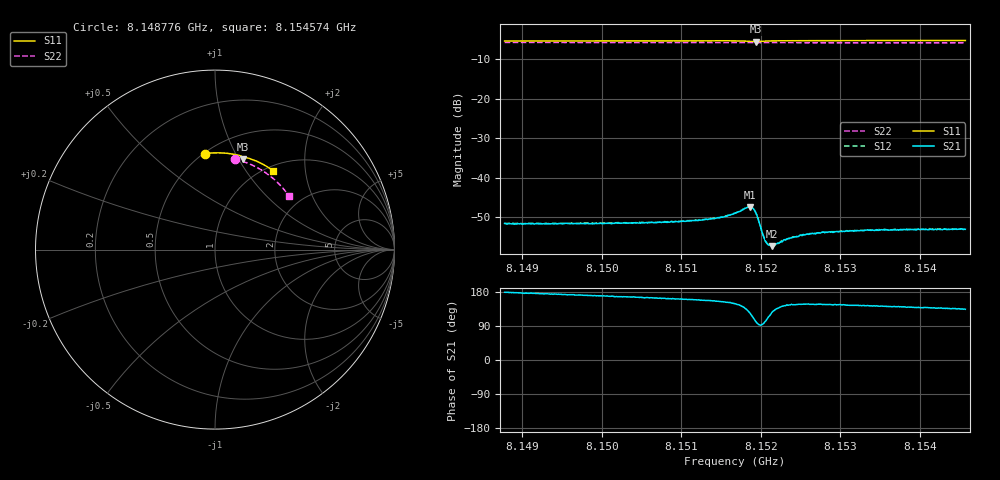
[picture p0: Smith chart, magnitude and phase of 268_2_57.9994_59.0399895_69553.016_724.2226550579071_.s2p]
#  HZ  S  RI  R  50.00
! Rohde & Schwarz Vector Network Analyzer
! Rohde-Schwarz,ZNB20-2Port,1311601062101988,3.16
! Created: UTC 3/21/2024, 1:02:15 AM
! freq[Hz]  re:S11  im:S11  re:S21  im:S21  re:S12  im:S12  re:S22  im:S22
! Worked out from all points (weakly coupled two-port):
!   401 points, 8.148776 GHz to 8.154574 GHz, reference 50 ohm
!   highest |S21| = -47.38 dB at 8.151863 GHz (marker M1); lowest = -57.2 dB at 8.152139 GHz (marker M2)
!   lowest |S11| = -5.5 dB at 8.151936 GHz (marker M3), VSWR 3.25, Z = 37.2 + j52.2 ohm
!   |S11| at or under -10 dB: nowhere
!   |S22| runs from -5.9 to -5.7 dB; largest |S21 - S12| = 0.00011
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8.1487759e9  -0.0558 0.5347  -0.00266 5.49e-05  -0.00265 0.000127  0.1089 0.5045
8.1497471e9  0.012 0.5391  -0.00261 0.000403  -0.00267 0.000454  0.1697 0.4865
8.1507183e9  0.0796 0.5349  -0.00262 0.000804  -0.00264 0.000846  0.2272 0.461
8.1511821e9  0.112 0.5297  -0.0027 0.00104  -0.00274 0.00107  0.2533 0.4466
8.151414e9  0.1287 0.526  -0.0028 0.00124  -0.00277 0.00131  0.2663 0.4386
8.1515445e9  0.1381 0.5234  -0.0029 0.00147  -0.0029 0.00151  0.2732 0.4341
8.1516749e9  0.148 0.5197  -0.00304 0.00187  -0.00305 0.00193  0.2803 0.4294
8.1518199e9  0.1582 0.5117  -0.0029 0.00304  -0.00286 0.00309  0.2878 0.424
8.1518634e9  0.1592 0.5081  -0.00238 0.00355  -0.00235 0.00362  0.2901 0.4222
8.1519069e9  0.1579 0.5053  -0.00142 0.00381  -0.0014 0.00384  0.2921 0.4206
8.1519358e9  0.1563 0.5053  -0.00074 0.00357  -0.00069 0.00359  0.2936 0.4195
8.1519648e9  0.1558 0.5069  -0.000267 0.00301  -0.000238 0.00306  0.295 0.4186
8.1520228e9  0.1578 0.5106  -0.000157 0.00195  -0.000142 0.00197  0.298 0.4165
8.1520518e9  0.1602 0.5119  -0.000308 0.0016  -0.000268 0.0016  0.2995 0.4157
8.1520953e9  0.164 0.5129  -0.000565 0.00131  -0.000556 0.00131  0.3017 0.4139
8.1521388e9  0.1678 0.5131  -0.000801 0.00113  -0.000791 0.00116  0.3039 0.4121
8.1523852e9  0.1871 0.5094  -0.00147 0.000948  -0.00143 0.001  0.3165 0.4024
8.1525156e9  0.1963 0.5064  -0.0016 0.00103  -0.00155 0.00103  0.323 0.3972
8.1526461e9  0.2053 0.5033  -0.00167 0.00109  -0.00164 0.00107  0.3293 0.3916
8.153023e9  0.2299 0.4933  -0.00172 0.00119  -0.00174 0.00122  0.3471 0.3753
8.1536173e9  0.2673 0.4752  -0.00171 0.00137  -0.00174 0.00142  0.3733 0.3481
8.1545739e9  0.3236 0.4405  -0.00155 0.00161  -0.00158 0.00163  0.4109 0.3005
